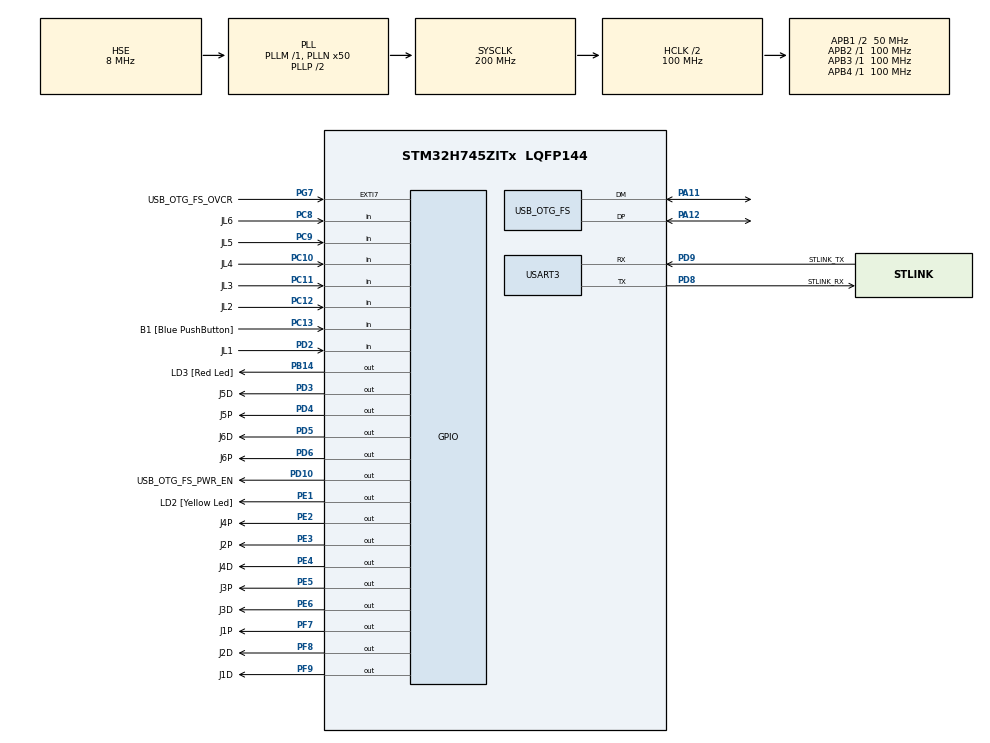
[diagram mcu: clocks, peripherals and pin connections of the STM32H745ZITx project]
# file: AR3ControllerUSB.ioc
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CORTEX_M7.CPU_DCache=Enabled
CORTEX_M7.CPU_ICache=Enabled
CortexM4.IPs=FATFS_M4\:I,FREERTOS_M4\:I,IWDG2\:I,RCC,WWDG2\:I,DMA,BDMA,MDMA,NVIC2\:I,DEBUG,USB_DEVICE_M4\:I,USB_HOST_M4\:I,PDM2PCM_M4\:I,PWR,RESMGR_UTILITY,SYS_M4\:I,CORTEX_M4\:I,OPENAMP_M4\:I,VREFBUF,GPIO
CortexM7.IPs=FATFS_M7\:I,FREERTOS_M7\:I,IWDG1\:I,RCC\:I,WWDG1\:I,DMA\:I,BDMA\:I,MDMA\:I,NVIC1\:I,SYS\:I,USART3\:I,CORTEX_M7\:I,DEBUG\:I,USB_DEVICE_M7\:I,USB_HOST_M7\:I,PDM2PCM_M7\:I,PWR\:I,RESMGR_UTILITY\:I,OPENAMP_M7\:I,VREFBUF\:I,GPIO\:I,USB_OTG_FS\:I,TIM1\:I
CortexM7.Pins=PE2,PE3,PE4,PE5,PE6,PC13,PF7,PF8,PF9,PB14,PD10,PG7,PC8,PC9,PC10,PC11,PC12,PD2,PD3,PD4,PD5,PD6,PE1
Mcu.Family=STM32H7
Mcu.Name=STM32H745ZITx
Mcu.Package=LQFP144
NVIC1.OTG_FS_EP1_IN_IRQn=true\:0\:0\:false\:false\:true\:true\:true\:true
NVIC1.OTG_FS_IRQn=true\:0\:0\:false\:false\:true\:false\:true\:true
NVIC1.PriorityGroup=NVIC_PRIORITYGROUP_4
NVIC1.TIM1_CC_IRQn=true\:0\:0\:false\:false\:true\:true\:true\:true
NVIC1.TIM1_UP_IRQn=true\:0\:0\:false\:false\:true\:true\:true\:true
NVIC1.USART3_IRQn=true\:0\:0\:false\:false\:true\:true\:true\:true
NVIC2.PriorityGroup=NVIC_PRIORITYGROUP_4
PA11.Mode=Device_Only
PA11.PinAttribute=CortexM7
PA11.Signal=USB_OTG_FS_DM
PA12.Mode=Device_Only
PA12.PinAttribute=CortexM7
PA12.Signal=USB_OTG_FS_DP
PA9.PinAttribute=CortexM7
PA9.Signal=USB_OTG_FS_VBUS
PB14.GPIO_Label=LD3 [Red Led]
PB14.PinAttribute=CortexM7
PB14.Signal=GPIO_Output
PC10.GPIO_Label=JL4
PC10.GPIO_PuPd=GPIO_PULLUP
PC10.PinAttribute=CortexM7
PC10.Signal=GPIO_Input
PC11.GPIO_Label=JL3
PC11.GPIO_PuPd=GPIO_PULLUP
PC11.PinAttribute=CortexM7
PC11.Signal=GPIO_Input
PC12.GPIO_Label=JL2
PC12.GPIO_PuPd=GPIO_PULLUP
PC12.PinAttribute=CortexM7
PC12.Signal=GPIO_Input
PC13.GPIO_Label=B1 [Blue PushButton]
PC13.PinAttribute=CortexM7
PC13.Signal=GPIO_Input
PC14-OSC32_IN\ (OSC32_IN).Mode=LSE-External-Oscillator
PC14-OSC32_IN\ (OSC32_IN).PinAttribute=CortexM7
PC14-OSC32_IN\ (OSC32_IN).Signal=RCC_OSC32_IN
PC15-OSC32_OUT\ (OSC32_OUT).Mode=LSE-External-Oscillator
PC15-OSC32_OUT\ (OSC32_OUT).PinAttribute=CortexM7
PC15-OSC32_OUT\ (OSC32_OUT).Signal=RCC_OSC32_OUT
PC8.GPIO_Label=JL6
PC8.GPIO_PuPd=GPIO_PULLUP
PC8.PinAttribute=CortexM7
PC8.Signal=GPIO_Input
PC9.GPIO_Label=JL5
PC9.GPIO_PuPd=GPIO_PULLUP
PC9.PinAttribute=CortexM7
PC9.Signal=GPIO_Input
PD10.GPIO_Label=USB_OTG_FS_PWR_EN
PD10.PinAttribute=CortexM7
PD10.Signal=GPIO_Output
PD2.GPIO_Label=JL1
PD2.GPIO_PuPd=GPIO_PULLUP
PD2.PinAttribute=CortexM7
PD2.Signal=GPIO_Input
PD3.GPIO_Label=J5D
PD3.GPIO_ModeDefaultOutputPP=GPIO_MODE_OUTPUT_OD
PD3.GPIO_PuPd=GPIO_NOPULL
PD3.GPIO_Speed=GPIO_SPEED_FREQ_HIGH
PD3.PinAttribute=CortexM7
PD3.Signal=GPIO_Output
PD4.GPIO_Label=J5P
PD4.GPIO_ModeDefaultOutputPP=GPIO_MODE_OUTPUT_OD
PD4.GPIO_PuPd=GPIO_NOPULL
PD4.GPIO_Speed=GPIO_SPEED_FREQ_HIGH
PD4.PinAttribute=CortexM7
PD4.Signal=GPIO_Output
PD5.GPIO_Label=J6D
PD5.GPIO_ModeDefaultOutputPP=GPIO_MODE_OUTPUT_OD
PD5.GPIO_PuPd=GPIO_NOPULL
PD5.GPIO_Speed=GPIO_SPEED_FREQ_HIGH
PD5.PinAttribute=CortexM7
PD5.Signal=GPIO_Output
PD6.GPIO_Label=J6P
PD6.GPIO_ModeDefaultOutputPP=GPIO_MODE_OUTPUT_OD
PD6.GPIO_PuPd=GPIO_NOPULL
PD6.GPIO_Speed=GPIO_SPEED_FREQ_HIGH
PD6.PinAttribute=CortexM7
PD6.Signal=GPIO_Output
PD8.GPIO_Label=STLINK_RX
PD8.Mode=Asynchronous
PD8.PinAttribute=CortexM7
PD8.Signal=USART3_TX
PD9.GPIO_Label=STLINK_TX
PD9.Mode=Asynchronous
PD9.PinAttribute=CortexM7
PD9.Signal=USART3_RX
PE1.GPIO_Label=LD2 [Yellow Led]
PE1.PinAttribute=CortexM7
PE1.Signal=GPIO_Output
PE2.GPIO_Label=J4P
PE2.GPIO_ModeDefaultOutputPP=GPIO_MODE_OUTPUT_OD
PE2.GPIO_PuPd=GPIO_NOPULL
PE2.GPIO_Speed=GPIO_SPEED_FREQ_HIGH
PE2.PinAttribute=CortexM7
PE2.Signal=GPIO_Output
PE3.GPIO_Label=J2P
PE3.GPIO_ModeDefaultOutputPP=GPIO_MODE_OUTPUT_OD
PE3.GPIO_PuPd=GPIO_NOPULL
PE3.GPIO_Speed=GPIO_SPEED_FREQ_HIGH
PE3.PinAttribute=CortexM7
PE3.Signal=GPIO_Output
PE4.GPIO_Label=J4D
PE4.GPIO_ModeDefaultOutputPP=GPIO_MODE_OUTPUT_OD
PE4.GPIO_PuPd=GPIO_NOPULL
PE4.GPIO_Speed=GPIO_SPEED_FREQ_HIGH
PE4.PinAttribute=CortexM7
PE4.Signal=GPIO_Output
PE5.GPIO_Label=J3P
PE5.GPIO_ModeDefaultOutputPP=GPIO_MODE_OUTPUT_OD
PE5.GPIO_PuPd=GPIO_NOPULL
PE5.GPIO_Speed=GPIO_SPEED_FREQ_HIGH
PE5.PinAttribute=CortexM7
PE5.Signal=GPIO_Output
PE6.GPIO_Label=J3D
PE6.GPIO_ModeDefaultOutputPP=GPIO_MODE_OUTPUT_OD
PE6.GPIO_PuPd=GPIO_NOPULL
PE6.GPIO_Speed=GPIO_SPEED_FREQ_HIGH
PE6.PinAttribute=CortexM7
PE6.Signal=GPIO_Output
PF7.GPIO_Label=J1P
PF7.GPIO_ModeDefaultOutputPP=GPIO_MODE_OUTPUT_OD
PF7.GPIO_PuPd=GPIO_NOPULL
PF7.GPIO_Speed=GPIO_SPEED_FREQ_HIGH
PF7.PinAttribute=CortexM7
PF7.Signal=GPIO_Output
PF8.GPIO_Label=J2D
PF8.GPIO_ModeDefaultOutputPP=GPIO_MODE_OUTPUT_OD
PF8.GPIO_PuPd=GPIO_NOPULL
PF8.GPIO_Speed=GPIO_SPEED_FREQ_HIGH
PF8.PinAttribute=CortexM7
PF8.Signal=GPIO_Output
PF9.GPIO_Label=J1D
PF9.GPIO_ModeDefaultOutputPP=GPIO_MODE_OUTPUT_OD
PF9.GPIO_PuPd=GPIO_NOPULL
PF9.GPIO_Speed=GPIO_SPEED_FREQ_HIGH
PF9.PinAttribute=CortexM7
PF9.Signal=GPIO_Output
PG7.GPIO_Label=USB_OTG_FS_OVCR
PG7.PinAttribute=CortexM7
PG7.Signal=GPXTI7
PH0-OSC_IN\ (PH0).Mode=HSE-External-Clock-Source
PH0-OSC_IN\ (PH0).PinAttribute=CortexM7
PH0-OSC_IN\ (PH0).Signal=RCC_OSC_IN
PH1-OSC_OUT\ (PH1).PinAttribute=CortexM7
PH1-OSC_OUT\ (PH1).Signal=RCC_OSC_OUT
ProjectManager.HeapSize=M4-0x2000,M7-0x2000
ProjectManager.StackSize=M4-0x4000,M7-0x4000
ProjectManager.TargetToolchain=STM32CubeIDE
RCC.ADCFreq_Value=16125000
RCC.APB1Freq_Value=50000000
RCC.APB2Freq_Value=100000000
RCC.APB3Freq_Value=100000000
RCC.APB4Freq_Value=100000000
RCC.CortexFreq_Value=200000000
RCC.D2PPRE1=RCC_APB1_DIV2
RCC.DIVM1=1
RCC.DIVM3=1
RCC.DIVN1=50
RCC.DIVN3=18
RCC.DIVQ3=3
RCC.HCLKFreq_Value=100000000
RCC.HPRE=RCC_HCLK_DIV2
RCC.HSE_VALUE=8000000
RCC.PLL3FRACN=6144
RCC.PLLFRACN=0
RCC.SYSCLKFreq_VALUE=200000000
RCC.SYSCLKSource=RCC_SYSCLKSOURCE_PLLCLK
RCC.SupplySource=PWR_DIRECT_SMPS_SUPPLY
RCC.USBCLockSelection=RCC_USBCLKSOURCE_PLL3
RCC.USBFreq_Value=50000000
TIM1.Channel-Output\ Compare1\ No\ Output=TIM_CHANNEL_1
TIM1.Channel-Output\ Compare2\ No\ Output=TIM_CHANNEL_2
TIM1.Period=9
TIM1.Prescaler=999
TIM1.Pulse-Output\ Compare2\ No\ Output=1
USART3.VirtualMode-Asynchronous=VM_ASYNC
USB_DEVICE_M7.CLASS_NAME_FS=CDC
USB_DEVICE_M7.VirtualMode-CDC_FS=Cdc
USB_DEVICE_M7.VirtualModeFS=Cdc_FS
USB_OTG_FS.VirtualMode=Device_Only
VP_SYS_M4_VS_Systick.Mode=SysTick
VP_TIM1_VS_ClockSourceINT.Mode=Internal
VP_TIM1_VS_no_output1.Mode=Output Compare1 No Output
VP_TIM1_VS_no_output2.Mode=Output Compare2 No Output
VP_USB_DEVICE_M7_VS_USB_DEVICE_CDC_FS.Mode=CDC_FS
board=NUCLEO-H745ZI-Q

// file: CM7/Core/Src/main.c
/* USER CODE BEGIN Header */
/**
  ******************************************************************************
  * @file           : main.c
  * @brief          : Main program body
  ******************************************************************************
  * @attention
  *
  * Copyright (c) 2023 STMicroelectronics.
  * All rights reserved.
  *
  * This software is licensed under terms that can be found in the LICENSE file
  * in the root directory of this software component.
  * If no LICENSE file comes with this software, it is provided AS-IS.
  *
  ******************************************************************************
  */
/* USER CODE END Header */
#include "main.h"
#include "usb_device.h"
#include "usbd_cdc_if.h"

/* USER CODE BEGIN Includes */

#include "arm.h"
#include "cdc_message.h"
#include "path_command.h"

/* USER CODE END Includes */

/* USER CODE BEGIN PD */

//#ifndef HSEM_ID_0
//#define HSEM_ID_0 (0U) /* HW semaphore 0*/
//#endif

/* USER CODE END PD */

TIM_HandleTypeDef htim1;

UART_HandleTypeDef huart3;

void SystemClock_Config(void);
static void MX_GPIO_Init(void);
static void MX_USART3_UART_Init(void);
static void MX_TIM1_Init(void);

/* USER CODE BEGIN 0 */

uint8_t res_buf[1024];
char speed[5], j1b[5], j2b[5], j3b[5], j4b[5], j5b[5], j6b[5];

void ReciveCommand(){
	if (res_buf[0] == 'f'){
		if (res_buf[1] == 'H'){
			FindHomeArm();
		}
		else if (res_buf[1] == '1'){
			FindHomeJoint(JOINT1);
		}
		else if (res_buf[1] == '2'){
			FindHomeJoint(JOINT2);
		}
		else if (res_buf[1] == '3'){
			FindHomeJoint(JOINT3);
		}
		else if (res_buf[1] == '4'){
			FindHomeJoint(JOINT4);
		}
		else if (res_buf[1] == '5'){
			FindHomeJoint(JOINT5);
		}
		else if (res_buf[1] == '6'){
			FindHomeJoint(JOINT6);
		}
	}
	else if (res_buf[0] == 'F'){
		if (res_buf[1] == 'H'){
			FindHomeArmForce();
		}
		else if (res_buf[1] == '1'){
			FindHomeForce(JOINT1);
		}
		else if (res_buf[1] == '2'){
			FindHomeForce(JOINT2);
		}
		else if (res_buf[1] == '3'){
			FindHomeForce(JOINT3);
		}
		else if (res_buf[1] == '4'){
			FindHomeForce(JOINT4);
		}
		else if (res_buf[1] == '5'){
			FindHomeForce(JOINT5);
		}
		else if (res_buf[1] == '6'){
			FindHomeForce(JOINT6);
		}
	}
	else if (res_buf[0] == 's'){
		if (res_buf[1] == '1'){
			ReportJointState(JOINT1);
		}
		else if (res_buf[1] == '2'){
			ReportJointState(JOINT2);
		}
		else if (res_buf[1] == '3'){
			ReportJointState(JOINT3);
		}
		else if (res_buf[1] == '4'){
			ReportJointState(JOINT4);
		}
		else if (res_buf[1] == '5'){
			ReportJointState(JOINT5);
		}
		else if (res_buf[1] == '6'){
			ReportJointState(JOINT6);
		}
		else if (res_buf[1] == 't'){
			ReportJointsState();
		}
	}
	else if (res_buf[0] == 'M'){
		if (res_buf[1] == 'E'){
			strncpy((char *)&j1b, (char *)&res_buf[3], 5);
			strncpy((char *)&j2b, (char *)&res_buf[9], 5);
			strncpy((char *)&j3b, (char *)&res_buf[15], 5);
			strncpy((char *)&j4b, (char *)&res_buf[21], 5);
			strncpy((char *)&j5b, (char *)&res_buf[27], 5);
			strncpy((char *)&j6b, (char *)&res_buf[33], 5);
			SetTargetPointEqSpeed(atoi((char *)&j1b), atoi((char *)&j2b), atoi((char *)&j3b), atoi((char *)&j4b), atoi((char *)&j5b), atoi((char *)&j6b));
		}
		else if (res_buf[1] == 'M'){
			//
		}
		else if (res_buf[1] == 'S'){
			//
		}
	}
	else if (res_buf[0] == 'P'){
		if (res_buf[1] == 'A'){
			strncpy((char *)&speed, (char *)&res_buf[3], 5);
			strncpy((char *)&j1b, (char *)&res_buf[9], 5);
			strncpy((char *)&j2b, (char *)&res_buf[15], 5);
			strncpy((char *)&j3b, (char *)&res_buf[21], 5);
			strncpy((char *)&j4b, (char *)&res_buf[27], 5);
			strncpy((char *)&j5b, (char *)&res_buf[33], 5);
			strncpy((char *)&j6b, (char *)&res_buf[39], 5);
			AddPathPoint(atoi((char *)&speed) / CLOCK_STEP,
					atoi((char *)&j1b),
					atoi((char *)&j2b),
					atoi((char *)&j3b),
					atoi((char *)&j4b),
					atoi((char *)&j5b),
					atoi((char *)&j6b));
		}
		else if (res_buf[1] == 'M'){
			StartMovePath();
		}
		else if (res_buf[1] == 'C'){
			ClearPath();
		}
		else if (res_buf[1] == 'P'){
			PongMessage();
		}
	}
	else if (res_buf[0] == 'Z'){
		if (res_buf[1] == '1'){
			SetBackToZeroJoint(JOINT1, atoi((char *)&res_buf[2]));
		}
		else if (res_buf[1] == '2'){
			SetBackToZeroJoint(JOINT2, atoi((char *)&res_buf[2]));
		}
		else if (res_buf[1] == '3'){
			SetBackToZeroJoint(JOINT3, atoi((char *)&res_buf[2]));
		}
		else if (res_buf[1] == '4'){
			SetBackToZeroJoint(JOINT4, atoi((char *)&res_buf[2]));
		}
		else if (res_buf[1] == '5'){
			SetBackToZeroJoint(JOINT5, atoi((char *)&res_buf[2]));
		}
		else if (res_buf[1] == '6'){
			SetBackToZeroJoint(JOINT6, atoi((char *)&res_buf[2]));
		}
	}
	else if (res_buf[0] == 'S'){
		if (res_buf[1] == '1'){
			SetFullStepsJoint(JOINT1, atoi((char *)&res_buf[2]));
		}
		else if (res_buf[1] == '2'){
			SetFullStepsJoint(JOINT2, atoi((char *)&res_buf[2]));
		}
		else if (res_buf[1] == '3'){
			SetFullStepsJoint(JOINT3, atoi((char *)&res_buf[2]));
		}
		else if (res_buf[1] == '4'){
			SetFullStepsJoint(JOINT4, atoi((char *)&res_buf[2]));
		}
		else if (res_buf[1] == '5'){
			SetFullStepsJoint(JOINT5, atoi((char *)&res_buf[2]));
		}
		else if (res_buf[1] == '6'){
			SetFullStepsJoint(JOINT6, atoi((char *)&res_buf[2]));
		}
		else if (res_buf[1] == 'F'){
			int s = atoi((char *)&res_buf[2]);
			SetFindHomeSpeed((double)s / CLOCK_STEP);
		}
		else if (res_buf[1] == 'S'){
			int s = atoi((char *)&res_buf[2]);
			SetMaxSpeed((double)s / CLOCK_STEP);
		}
	}
	else if (res_buf[0] == 't'){
		if (res_buf[1] == '1'){
			//
		}
		else if (res_buf[1] == '2'){
			//
		}
		else if (res_buf[1] == '3'){
			//
		}
		else if (res_buf[1] == '4'){
			//
		}
		else if (res_buf[1] == '5'){
			//
		}
		else if (res_buf[1] == '6'){
			//
		}
	}
	//if (strcmp((char *)&res_buf, "PP\n") == 0){
	//	PongMessage();
	//}
}

void HAL_TIM_OC_DelayElapsedCallback(TIM_HandleTypeDef *htim)
{
	if(htim->Instance == TIM1)
    {
		switch(htim->Channel){
			case HAL_TIM_ACTIVE_CHANNEL_1:
			{
				TickTimerChennel1();
				break;
			}
			case HAL_TIM_ACTIVE_CHANNEL_2:
			{
				TickTimerChennel2();
				break;
			}
			default:
				break;
		}
    }
}

/* USER CODE END 0 */

int main(void)
{
/* USER CODE BEGIN Boot_Mode_Sequence_0 */
  //int32_t timeout;
/* USER CODE END Boot_Mode_Sequence_0 */

  /* Enable I-Cache---------------------------------------------------------*/
  SCB_EnableICache();

  /* Enable D-Cache---------------------------------------------------------*/
  SCB_EnableDCache();

/* USER CODE BEGIN Boot_Mode_Sequence_1 */
  /* Wait until CPU2 boots and enters in stop mode or timeout*/
  //timeout = 0xFFFF;
  //while((__HAL_RCC_GET_FLAG(RCC_FLAG_D2CKRDY) != RESET) && (timeout-- > 0));
  //if ( timeout < 0 )
  //{
  //Error_Handler();
  //}
/* USER CODE END Boot_Mode_Sequence_1 */
  /* MCU Configuration--------------------------------------------------------*/

  /* Reset of all peripherals, Initializes the Flash interface and the Systick. */
  HAL_Init();

  /* Configure the system clock */
  SystemClock_Config();
/* USER CODE BEGIN Boot_Mode_Sequence_2 */
/* When system initialization is finished, Cortex-M7 will release Cortex-M4 by means of
HSEM notification */
/*HW semaphore Clock enable*/
//__HAL_RCC_HSEM_CLK_ENABLE();
/*Take HSEM */
//HAL_HSEM_FastTake(HSEM_ID_0);
/*Release HSEM in order to notify the CPU2(CM4)*/
//HAL_HSEM_Release(HSEM_ID_0,0);
/* wait until CPU2 wakes up from stop mode */
//timeout = 0xFFFF;
//while((__HAL_RCC_GET_FLAG(RCC_FLAG_D2CKRDY) == RESET) && (timeout-- > 0));
//if ( timeout < 0 )
//{
//Error_Handler();
//}
/* USER CODE END Boot_Mode_Sequence_2 */

  /* Initialize all configured peripherals */
  MX_GPIO_Init();
  MX_USART3_UART_Init();
  MX_USB_DEVICE_Init();
  MX_TIM1_Init();
  /* USER CODE BEGIN 2 */

  InitArm();
  HAL_TIM_Base_Start(&htim1);
  HAL_TIM_OC_Start_IT(&htim1, TIM_CHANNEL_1);
  HAL_TIM_OC_Start_IT(&htim1, TIM_CHANNEL_2);

  /* USER CODE END 2 */

  /* Infinite loop */
  while (1)
  {

    /* USER CODE BEGIN 3 */

	  //CDC_Transmit_FS((uint8_t *)data, strlen(data));
	  bool f = false;
	  f |= HAL_GPIO_ReadPin(JL1_GPIO_Port, JL1_Pin) == GPIO_PIN_RESET ? true : false;
	  f |= HAL_GPIO_ReadPin(JL2_GPIO_Port, JL2_Pin) == GPIO_PIN_RESET ? true : false;
	  f |= HAL_GPIO_ReadPin(JL3_GPIO_Port, JL3_Pin) == GPIO_PIN_RESET ? true : false;
	  f |= HAL_GPIO_ReadPin(JL4_GPIO_Port, JL4_Pin) == GPIO_PIN_RESET ? true : false;
	  f |= HAL_GPIO_ReadPin(JL5_GPIO_Port, JL5_Pin) == GPIO_PIN_RESET ? true : false;
	  f |= HAL_GPIO_ReadPin(JL6_GPIO_Port, JL6_Pin) == GPIO_PIN_RESET ? true : false;
	  if (f){
		  HAL_GPIO_WritePin(LD3_GPIO_Port, LD3_Pin, 1);
	  }else{
		  HAL_GPIO_WritePin(LD3_GPIO_Port, LD3_Pin, 0);
	  }
	  if (HAL_GPIO_ReadPin(B1_GPIO_Port, B1_Pin) == GPIO_PIN_SET){
		  //FindHomeJoint(JOINT6);
		  //JointFindedHome(1);
	  }
	  HAL_Delay(1);
  }
  /* USER CODE END 3 */
}

void SystemClock_Config(void)
{
  RCC_OscInitTypeDef RCC_OscInitStruct = {0};
  RCC_ClkInitTypeDef RCC_ClkInitStruct = {0};

  /** Supply configuration update enable
  */
  HAL_PWREx_ConfigSupply(PWR_DIRECT_SMPS_SUPPLY);

  /** Configure the main internal regulator output voltage
  */
  __HAL_PWR_VOLTAGESCALING_CONFIG(PWR_REGULATOR_VOLTAGE_SCALE3);

  while(!__HAL_PWR_GET_FLAG(PWR_FLAG_VOSRDY)) {}

  /** Initializes the RCC Oscillators according to the specified parameters
  * in the RCC_OscInitTypeDef structure.
  */
  RCC_OscInitStruct.OscillatorType = RCC_OSCILLATORTYPE_HSE;
  RCC_OscInitStruct.HSEState = RCC_HSE_BYPASS;
  RCC_OscInitStruct.PLL.PLLState = RCC_PLL_ON;
  RCC_OscInitStruct.PLL.PLLSource = RCC_PLLSOURCE_HSE;
  RCC_OscInitStruct.PLL.PLLM = 1;
  RCC_OscInitStruct.PLL.PLLN = 50;
  RCC_OscInitStruct.PLL.PLLP = 2;
  RCC_OscInitStruct.PLL.PLLQ = 2;
  RCC_OscInitStruct.PLL.PLLR = 2;
  RCC_OscInitStruct.PLL.PLLRGE = RCC_PLL1VCIRANGE_3;
  RCC_OscInitStruct.PLL.PLLVCOSEL = RCC_PLL1VCOWIDE;
  RCC_OscInitStruct.PLL.PLLFRACN = 0;
  if (HAL_RCC_OscConfig(&RCC_OscInitStruct) != HAL_OK)
  {
    Error_Handler();
  }

  /** Initializes the CPU, AHB and APB buses clocks
  */
  RCC_ClkInitStruct.ClockType = RCC_CLOCKTYPE_HCLK|RCC_CLOCKTYPE_SYSCLK
                              |RCC_CLOCKTYPE_PCLK1|RCC_CLOCKTYPE_PCLK2
                              |RCC_CLOCKTYPE_D3PCLK1|RCC_CLOCKTYPE_D1PCLK1;
  RCC_ClkInitStruct.SYSCLKSource = RCC_SYSCLKSOURCE_PLLCLK;
  RCC_ClkInitStruct.SYSCLKDivider = RCC_SYSCLK_DIV1;
  RCC_ClkInitStruct.AHBCLKDivider = RCC_HCLK_DIV2;
  RCC_ClkInitStruct.APB3CLKDivider = RCC_APB3_DIV1;
  RCC_ClkInitStruct.APB1CLKDivider = RCC_APB1_DIV2;
  RCC_ClkInitStruct.APB2CLKDivider = RCC_APB2_DIV1;
  RCC_ClkInitStruct.APB4CLKDivider = RCC_APB4_DIV1;

  if (HAL_RCC_ClockConfig(&RCC_ClkInitStruct, FLASH_LATENCY_2) != HAL_OK)
  {
    Error_Handler();
  }
}

static void MX_TIM1_Init(void)
{

  TIM_ClockConfigTypeDef sClockSourceConfig = {0};
  TIM_MasterConfigTypeDef sMasterConfig = {0};
  TIM_OC_InitTypeDef sConfigOC = {0};
  TIM_BreakDeadTimeConfigTypeDef sBreakDeadTimeConfig = {0};

  htim1.Instance = TIM1;
  htim1.Init.Prescaler = 999;
  htim1.Init.CounterMode = TIM_COUNTERMODE_UP;
  htim1.Init.Period = 9;
  htim1.Init.ClockDivision = TIM_CLOCKDIVISION_DIV1;
  htim1.Init.RepetitionCounter = 0;
  htim1.Init.AutoReloadPreload = TIM_AUTORELOAD_PRELOAD_DISABLE;
  if (HAL_TIM_Base_Init(&htim1) != HAL_OK)
  {
    Error_Handler();
  }
  sClockSourceConfig.ClockSource = TIM_CLOCKSOURCE_INTERNAL;
  if (HAL_TIM_ConfigClockSource(&htim1, &sClockSourceConfig) != HAL_OK)
  {
    Error_Handler();
  }
  if (HAL_TIM_OC_Init(&htim1) != HAL_OK)
  {
    Error_Handler();
  }
  sMasterConfig.MasterOutputTrigger = TIM_TRGO_RESET;
  sMasterConfig.MasterOutputTrigger2 = TIM_TRGO2_RESET;
  sMasterConfig.MasterSlaveMode = TIM_MASTERSLAVEMODE_DISABLE;
  if (HAL_TIMEx_MasterConfigSynchronization(&htim1, &sMasterConfig) != HAL_OK)
  {
    Error_Handler();
  }
  sConfigOC.OCMode = TIM_OCMODE_TIMING;
  sConfigOC.Pulse = 0;
  sConfigOC.OCPolarity = TIM_OCPOLARITY_HIGH;
  sConfigOC.OCNPolarity = TIM_OCNPOLARITY_HIGH;
  sConfigOC.OCFastMode = TIM_OCFAST_DISABLE;
  sConfigOC.OCIdleState = TIM_OCIDLESTATE_RESET;
  sConfigOC.OCNIdleState = TIM_OCNIDLESTATE_RESET;
  if (HAL_TIM_OC_ConfigChannel(&htim1, &sConfigOC, TIM_CHANNEL_1) != HAL_OK)
  {
    Error_Handler();
  }
  sConfigOC.Pulse = 1;
  if (HAL_TIM_OC_ConfigChannel(&htim1, &sConfigOC, TIM_CHANNEL_2) != HAL_OK)
  {
    Error_Handler();
  }
  sBreakDeadTimeConfig.OffStateRunMode = TIM_OSSR_DISABLE;
  sBreakDeadTimeConfig.OffStateIDLEMode = TIM_OSSI_DISABLE;
  sBreakDeadTimeConfig.LockLevel = TIM_LOCKLEVEL_OFF;
  sBreakDeadTimeConfig.DeadTime = 0;
  sBreakDeadTimeConfig.BreakState = TIM_BREAK_DISABLE;
  sBreakDeadTimeConfig.BreakPolarity = TIM_BREAKPOLARITY_HIGH;
  sBreakDeadTimeConfig.BreakFilter = 0;
  sBreakDeadTimeConfig.Break2State = TIM_BREAK2_DISABLE;
  sBreakDeadTimeConfig.Break2Polarity = TIM_BREAK2POLARITY_HIGH;
  sBreakDeadTimeConfig.Break2Filter = 0;
  sBreakDeadTimeConfig.AutomaticOutput = TIM_AUTOMATICOUTPUT_DISABLE;
  if (HAL_TIMEx_ConfigBreakDeadTime(&htim1, &sBreakDeadTimeConfig) != HAL_OK)
  {
    Error_Handler();
  }

}

static void MX_USART3_UART_Init(void)
{

  huart3.Instance = USART3;
  huart3.Init.BaudRate = 115200;
  huart3.Init.WordLength = UART_WORDLENGTH_8B;
  huart3.Init.StopBits = UART_STOPBITS_1;
  huart3.Init.Parity = UART_PARITY_NONE;
  huart3.Init.Mode = UART_MODE_TX_RX;
  huart3.Init.HwFlowCtl = UART_HWCONTROL_NONE;
  huart3.Init.OverSampling = UART_OVERSAMPLING_16;
  huart3.Init.OneBitSampling = UART_ONE_BIT_SAMPLE_DISABLE;
  huart3.Init.ClockPrescaler = UART_PRESCALER_DIV1;
  huart3.AdvancedInit.AdvFeatureInit = UART_ADVFEATURE_NO_INIT;
  if (HAL_UART_Init(&huart3) != HAL_OK)
  {
    Error_Handler();
  }
  if (HAL_UARTEx_SetTxFifoThreshold(&huart3, UART_TXFIFO_THRESHOLD_1_8) != HAL_OK)
  {
    Error_Handler();
  }
  if (HAL_UARTEx_SetRxFifoThreshold(&huart3, UART_RXFIFO_THRESHOLD_1_8) != HAL_OK)
  {
    Error_Handler();
  }
  if (HAL_UARTEx_DisableFifoMode(&huart3) != HAL_OK)
  {
    Error_Handler();
  }

}

static void MX_GPIO_Init(void)
{
  GPIO_InitTypeDef GPIO_InitStruct = {0};

  /* GPIO Ports Clock Enable */
  __HAL_RCC_GPIOE_CLK_ENABLE();
  __HAL_RCC_GPIOC_CLK_ENABLE();
  __HAL_RCC_GPIOF_CLK_ENABLE();
  __HAL_RCC_GPIOH_CLK_ENABLE();
  __HAL_RCC_GPIOB_CLK_ENABLE();
  __HAL_RCC_GPIOD_CLK_ENABLE();
  __HAL_RCC_GPIOG_CLK_ENABLE();
  __HAL_RCC_GPIOA_CLK_ENABLE();

  /*Configure GPIO pin Output Level */
  HAL_GPIO_WritePin(GPIOE, J4P_Pin|J2P_Pin|J4D_Pin|J3P_Pin
                          |J3D_Pin|LD2_Pin, GPIO_PIN_RESET);

  /*Configure GPIO pin Output Level */
  HAL_GPIO_WritePin(GPIOF, J1P_Pin|J2D_Pin|J1D_Pin, GPIO_PIN_RESET);

  /*Configure GPIO pin Output Level */
  HAL_GPIO_WritePin(LD3_GPIO_Port, LD3_Pin, GPIO_PIN_RESET);

  /*Configure GPIO pin Output Level */
  HAL_GPIO_WritePin(GPIOD, USB_OTG_FS_PWR_EN_Pin|J5D_Pin|J5P_Pin|J6D_Pin
                          |J6P_Pin, GPIO_PIN_RESET);

  /*Configure GPIO pins : J4P_Pin J2P_Pin J4D_Pin J3P_Pin
                           J3D_Pin */
  GPIO_InitStruct.Pin = J4P_Pin|J2P_Pin|J4D_Pin|J3P_Pin
                          |J3D_Pin;
  GPIO_InitStruct.Mode = GPIO_MODE_OUTPUT_OD;
  GPIO_InitStruct.Pull = GPIO_NOPULL;
  GPIO_InitStruct.Speed = GPIO_SPEED_FREQ_HIGH;
  HAL_GPIO_Init(GPIOE, &GPIO_InitStruct);

  /*Configure GPIO pin : B1_Pin */
  GPIO_InitStruct.Pin = B1_Pin;
  GPIO_InitStruct.Mode = GPIO_MODE_INPUT;
  GPIO_InitStruct.Pull = GPIO_NOPULL;
  HAL_GPIO_Init(B1_GPIO_Port, &GPIO_InitStruct);

  /*Configure GPIO pins : J1P_Pin J2D_Pin J1D_Pin */
  GPIO_InitStruct.Pin = J1P_Pin|J2D_Pin|J1D_Pin;
  GPIO_InitStruct.Mode = GPIO_MODE_OUTPUT_OD;
  GPIO_InitStruct.Pull = GPIO_NOPULL;
  GPIO_InitStruct.Speed = GPIO_SPEED_FREQ_HIGH;
  HAL_GPIO_Init(GPIOF, &GPIO_InitStruct);

  /*Configure GPIO pin : LD3_Pin */
  GPIO_InitStruct.Pin = LD3_Pin;
  GPIO_InitStruct.Mode = GPIO_MODE_OUTPUT_PP;
  GPIO_InitStruct.Pull = GPIO_NOPULL;
  GPIO_InitStruct.Speed = GPIO_SPEED_FREQ_LOW;
  HAL_GPIO_Init(LD3_GPIO_Port, &GPIO_InitStruct);

  /*Configure GPIO pin : USB_OTG_FS_PWR_EN_Pin */
  GPIO_InitStruct.Pin = USB_OTG_FS_PWR_EN_Pin;
  GPIO_InitStruct.Mode = GPIO_MODE_OUTPUT_PP;
  GPIO_InitStruct.Pull = GPIO_NOPULL;
  GPIO_InitStruct.Speed = GPIO_SPEED_FREQ_LOW;
  HAL_GPIO_Init(USB_OTG_FS_PWR_EN_GPIO_Port, &GPIO_InitStruct);

  /*Configure GPIO pin : USB_OTG_FS_OVCR_Pin */
  GPIO_InitStruct.Pin = USB_OTG_FS_OVCR_Pin;
  GPIO_InitStruct.Mode = GPIO_MODE_IT_RISING;
  GPIO_InitStruct.Pull = GPIO_NOPULL;
  HAL_GPIO_Init(USB_OTG_FS_OVCR_GPIO_Port, &GPIO_InitStruct);

  /*Configure GPIO pins : JL6_Pin JL5_Pin JL4_Pin JL3_Pin
                           JL2_Pin */
  GPIO_InitStruct.Pin = JL6_Pin|JL5_Pin|JL4_Pin|JL3_Pin
                          |JL2_Pin;
  GPIO_InitStruct.Mode = GPIO_MODE_INPUT;
  GPIO_InitStruct.Pull = GPIO_PULLUP;
  HAL_GPIO_Init(GPIOC, &GPIO_InitStruct);

  /*Configure GPIO pin : JL1_Pin */
  GPIO_InitStruct.Pin = JL1_Pin;
  GPIO_InitStruct.Mode = GPIO_MODE_INPUT;
  GPIO_InitStruct.Pull = GPIO_PULLUP;
  HAL_GPIO_Init(JL1_GPIO_Port, &GPIO_InitStruct);

  /*Configure GPIO pins : J5D_Pin J5P_Pin J6D_Pin J6P_Pin */
  GPIO_InitStruct.Pin = J5D_Pin|J5P_Pin|J6D_Pin|J6P_Pin;
  GPIO_InitStruct.Mode = GPIO_MODE_OUTPUT_OD;
  GPIO_InitStruct.Pull = GPIO_NOPULL;
  GPIO_InitStruct.Speed = GPIO_SPEED_FREQ_HIGH;
  HAL_GPIO_Init(GPIOD, &GPIO_InitStruct);

  /*Configure GPIO pin : LD2_Pin */
  GPIO_InitStruct.Pin = LD2_Pin;
  GPIO_InitStruct.Mode = GPIO_MODE_OUTPUT_PP;
  GPIO_InitStruct.Pull = GPIO_NOPULL;
  GPIO_InitStruct.Speed = GPIO_SPEED_FREQ_LOW;
  HAL_GPIO_Init(LD2_GPIO_Port, &GPIO_InitStruct);

}

void Error_Handler(void)
{
  __disable_irq();
  while (1)
  {
  }
}
